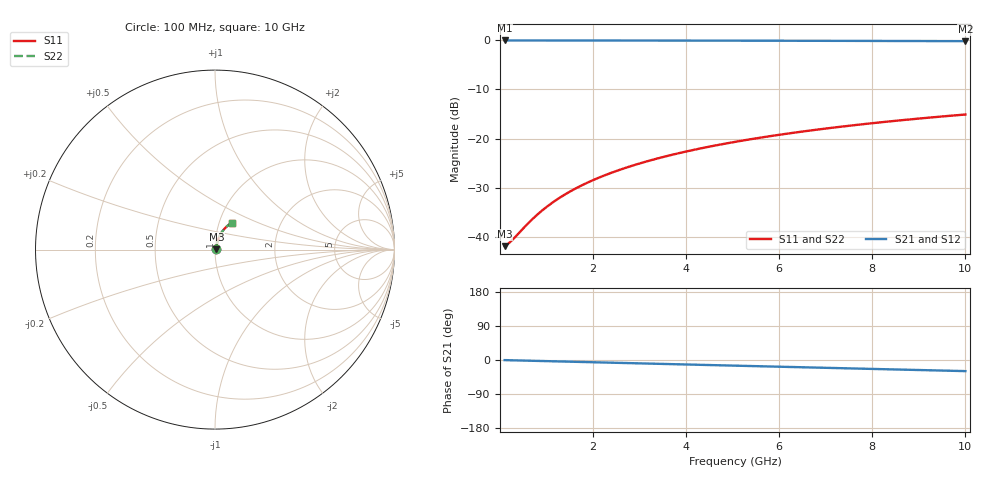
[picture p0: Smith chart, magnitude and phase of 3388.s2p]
# Hz S RI R 50.00
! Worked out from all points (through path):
!   100 points, 100 MHz to 10 GHz, reference 50 ohm
!   highest |S21| = -0.07 dB at 100 MHz (marker M1); lowest = -0.2 dB at 10 GHz (marker M2)
!   group delay of S21, straight-line fit = 8.15 ps
!   lowest |S11| = -41.8 dB at 100 MHz (marker M3), VSWR 1.02, Z = 50.8 + j0.184 ohm
!   |S11| at or under -10 dB: start of sweep to end of sweep
!   |S22| runs from -41.8 to -15.1 dB; largest |S21 - S12| = 0
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1e8  0.0079 0.00182  0.9921 -0.00513  0.9921 -0.00513  0.0079 0.00182
2e8  0.00798 0.00363  0.992 -0.0103  0.992 -0.0103  0.00798 0.00363
3e8  0.00807 0.00544  0.9919 -0.0154  0.9919 -0.0154  0.00807 0.00544
5e8  0.00827 0.00907  0.9916 -0.0256  0.9916 -0.0256  0.00827 0.00907
7e8  0.00854 0.0127  0.9912 -0.0359  0.9912 -0.0359  0.00854 0.0127
8e8  0.0087 0.0145  0.9909 -0.041  0.9909 -0.041  0.0087 0.0145
1e9  0.00907 0.0181  0.9903 -0.0512  0.9903 -0.0512  0.00907 0.0181
1.2e9  0.00951 0.0217  0.9897 -0.0614  0.9897 -0.0614  0.00951 0.0217
1.4e9  0.01 0.0253  0.9889 -0.0717  0.9889 -0.0717  0.01 0.0253
1.6e9  0.0106 0.0289  0.9879 -0.0819  0.9879 -0.0819  0.0106 0.0289
1.8e9  0.0113 0.0324  0.9869 -0.092  0.9869 -0.092  0.0113 0.0324
2.1e9  0.0124 0.0378  0.9851 -0.1073  0.9851 -0.1073  0.0124 0.0378
2.5e9  0.0141 0.0448  0.9823 -0.1275  0.9823 -0.1275  0.0141 0.0448
2.9e9  0.0162 0.0517  0.9791 -0.1477  0.9791 -0.1477  0.0162 0.0517
3.4e9  0.0191 0.0603  0.9744 -0.1728  0.9744 -0.1728  0.0191 0.0603
4.2e9  0.0247 0.0736  0.9654 -0.2125  0.9654 -0.2125  0.0247 0.0736
5.1e9  0.0323 0.0879  0.9532 -0.2565  0.9532 -0.2565  0.0323 0.0879
5.9e9  0.0401 0.1  0.9405 -0.2949  0.9405 -0.2949  0.0401 0.1
6.7e9  0.0488 0.1113  0.9262 -0.3325  0.9262 -0.3325  0.0488 0.1113
7.5e9  0.0584 0.1219  0.9102 -0.3693  0.9102 -0.3693  0.0584 0.1219
8.4e9  0.0701 0.1327  0.8904 -0.4096  0.8904 -0.4096  0.0701 0.1327
1e10  0.0931 0.1491  0.8508 -0.4779  0.8508 -0.4779  0.0931 0.1491
